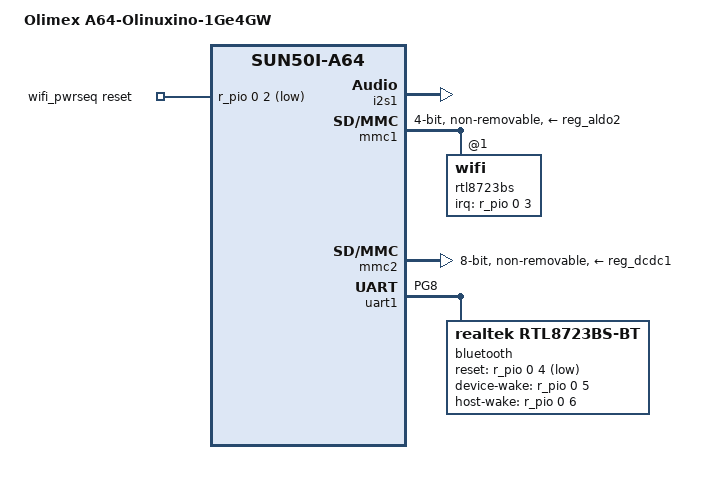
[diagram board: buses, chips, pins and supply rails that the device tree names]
// SPDX-License-Identifier: (GPL-2.0+ OR MIT)
/*
 * Copyright (C) 2019 OLIMEX Ltd.
 *
 */

/dts-v1/;

#include "sun50i-a64-olinuxino-1G.dts"

/ {
	model = "Olimex A64-Olinuxino-1Ge4GW";
	compatible = "olimex,a64-olinuxino-1ge4gw", "allwinner,sun50i-a64";

	aliases {
		ethernet1 = &rtl8723bs;
		mmc1 = &mmc2;
	};

	bt-sound {
		compatible = "simple-audio-card";
		simple-audio-card,format = "i2s";
		simple-audio-card,bitclock-inversion = <1>;
		simple-audio-card,mclk-fs = <256>;
		simple-audio-card,name = "RTL8723BS";
		simple-audio-card,cpu {
			sound-dai = <&i2s1>;
		};
		simple-audio-card,codec {
			sound-dai = <&bt_sco>;
		};
	};

	bt_sco: bt-sco {
		compatible = "linux,bt-sco";
		#sound-dai-cells = <0>;
		status = "okay";
	};

	wifi_pwrseq: wifi_pwrseq {
		compatible = "mmc-pwrseq-simple";
		reset-gpios = <&r_pio 0 2 GPIO_ACTIVE_LOW>; /* PL2 */
	};
};

&i2s1 {
	status = "okay";
};

&mmc1 {
	pinctrl-names = "default";
	pinctrl-0 = <&mmc1_pins>;
	vmmc-supply = <&reg_aldo2>;
	vqmmc-supply = <&reg_dldo4>;
	mmc-pwrseq = <&wifi_pwrseq>;
	bus-width = <4>;
	non-removable;
	status = "okay";

	rtl8723bs: wifi@1 {
		reg = <1>;
		interrupt-parent = <&r_pio>;
		interrupts = <0 3 IRQ_TYPE_LEVEL_LOW>; /* PL3 */
		interrupt-names = "host-wake";
	};
};

&mmc2 {
	pinctrl-names = "default";
	pinctrl-0 = <&mmc2_pins>;
	vmmc-supply = <&reg_dcdc1>;
	vqmmc-supply = <&reg_dcdc1>;
	bus-width = <8>;
	non-removable;
	cap-mmc-hw-reset;
	status = "okay";
};

&pio {
	uart1_cts_pins: uart1_cts_pins {
		pins = "PG8";
		function = "uart1";
	};
};

&uart1 {
	pinctrl-names = "default";
	pinctrl-0 = <&uart1_pins>, <&uart1_cts_pins>;
	status = "okay";
	bluetooth {
		compatible = "realtek,rtl8723bs-bt";
		reset-gpios = <&r_pio 0 4 GPIO_ACTIVE_LOW>; /* PL4 */
		device-wake-gpios = <&r_pio 0 5 GPIO_ACTIVE_HIGH>; /* PL5 */
		host-wake-gpios = <&r_pio 0 6 GPIO_ACTIVE_HIGH>; /* PL6 */
		firmware-postfix = "olinuxino";
	};
};
